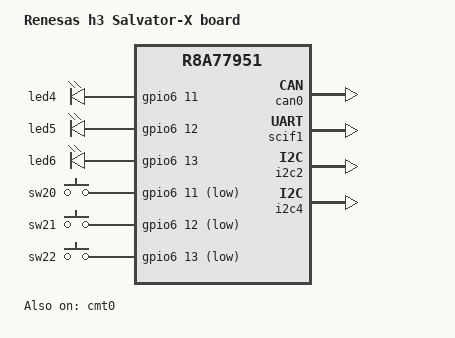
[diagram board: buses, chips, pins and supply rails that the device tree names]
/*
 * Copyright (c) 2022 BayLibre, SAS
 *
 * SPDX-License-Identifier: Apache-2.0
 *
 */

/dts-v1/;
#include <arm/renesas/rcar/gen3/r8a77951.dtsi>
#include "rcar_salvator_x_r8a77951_r7-pinctrl.dtsi"
#include <zephyr/dt-bindings/input/input-event-codes.h>

/ {
	model = "Renesas h3 Salvator-X board";
	compatible = "renesas,h3-salvatorx-cr7";

	chosen {
		zephyr,sram = &sram0;
		zephyr,console = &scif1;
		zephyr,shell-uart = &scif1;
		zephyr,canbus = &can0;
	};

	leds {
		compatible = "gpio-leds";

		user_led_0: led_4 {
			gpios = <&gpio6 11 GPIO_ACTIVE_HIGH>;
			label = "led4";
		};

		user_led_1: led_5 {
			gpios = <&gpio6 12 GPIO_ACTIVE_HIGH>;
			label = "led5";
		};

		user_led_2: led_6 {
			gpios = <&gpio6 13 GPIO_ACTIVE_HIGH>;
			label = "led6";
		};
	};

	gpio_keys {
		compatible = "gpio-keys";

		user_button_0: sw20 {
			gpios = <&gpio6 11 GPIO_ACTIVE_LOW>;
			label = "sw20";
			zephyr,code = <INPUT_KEY_0>;
		};

		user_button_1: sw21 {
			gpios = <&gpio6 12 GPIO_ACTIVE_LOW>;
			label = "sw21";
			zephyr,code = <INPUT_KEY_1>;
		};

		user_button_2: sw22 {
			gpios = <&gpio6 13 GPIO_ACTIVE_LOW>;
			label = "sw22";
			zephyr,code = <INPUT_KEY_2>;
		};
	};

	aliases {
		led0 = &user_led_1;
		sw0 = &user_button_0;
	};
};

&cmt0 {
	status = "okay";
	clock-frequency = <32000>;
};

&gpio6 {
	status = "okay";
};

&can0 {
	pinctrl-0 = <&can0_data_a_tx_default &can0_data_a_rx_default>;
	pinctrl-names = "default";
	status = "okay";
};

&scif1 {
	pinctrl-0 = <&scif1_data_a_tx_default &scif1_data_a_rx_default>;
	pinctrl-names = "default";
	status = "okay";
};

&i2c2 {
	status = "okay";
};

&i2c4 {
	status = "okay";
};
